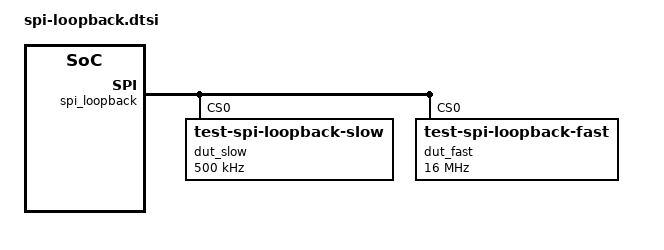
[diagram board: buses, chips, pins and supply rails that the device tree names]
/*
 * Copyright (c) 2026 The Zephyr Project Contributors
 *
 * SPDX-License-Identifier: Apache-2.0
 *
 * Shared SPI loopback test fixture. The board selects the loopback SPI
 * controller with the `spi_loopback` node label:
 *
 *     spi_loopback: &<controller> { ... board-specific props ... };
 *
 * Defaults: 500 kHz (slow) / 16 MHz (fast), on chip-select 0. A board whose
 * silicon differs overrides them by defining any of the following before
 * selecting the controller (overlay files are preprocessed together, so the
 * values reach this fragment):
 *
 *     #define SPI_LOOPBACK_SLOW_HZ  <hz>   (e.g. DT_FREQ_M(2))
 *     #define SPI_LOOPBACK_FAST_HZ  <hz>
 *     #define SPI_LOOPBACK_REG      <cs>   (chip-select index, default 0)
 */

#include <zephyr/dt-bindings/dt-util.h>

#ifndef SPI_LOOPBACK_SLOW_HZ
#define SPI_LOOPBACK_SLOW_HZ 500000
#endif
#ifndef SPI_LOOPBACK_FAST_HZ
#define SPI_LOOPBACK_FAST_HZ 16000000
#endif
#ifndef SPI_LOOPBACK_REG
#define SPI_LOOPBACK_REG 0
#endif

&spi_loopback {
	dut_slow: slow@SPI_LOOPBACK_REG {
		compatible = "test-spi-loopback-slow";
		reg = <SPI_LOOPBACK_REG>;
		spi-max-frequency = <SPI_LOOPBACK_SLOW_HZ>;
	};

	dut_fast: fast@SPI_LOOPBACK_REG {
		compatible = "test-spi-loopback-fast";
		reg = <SPI_LOOPBACK_REG>;
		spi-max-frequency = <SPI_LOOPBACK_FAST_HZ>;
	};
};
